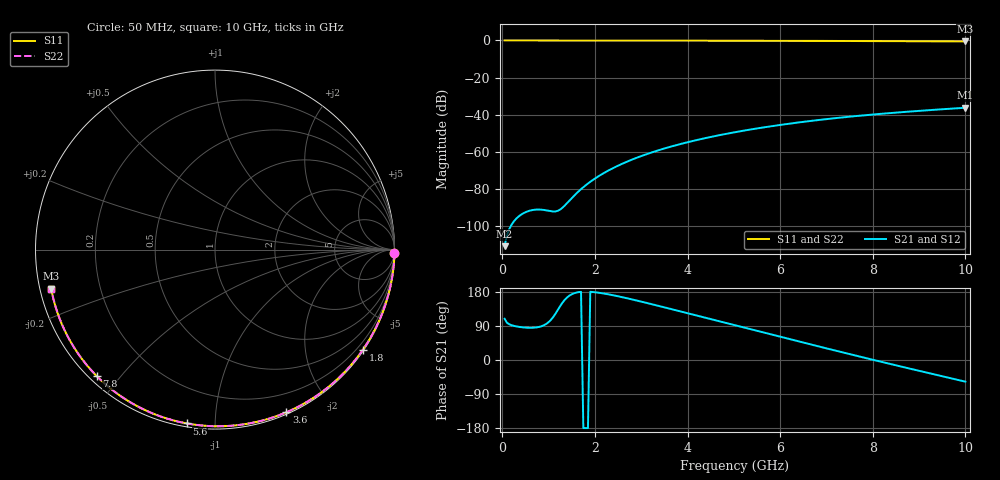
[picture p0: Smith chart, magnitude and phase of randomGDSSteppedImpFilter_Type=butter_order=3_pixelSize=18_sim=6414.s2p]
! freq	dB(S11)	phase(S11)	dB(S12)	phase(S12)
!  dB(S21)	phase(S21)	dB(S22)	phase(S22)
!S-par simulation data
#  GHz  S  DB  R 50
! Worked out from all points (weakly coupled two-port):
!   200 points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, 50 MHz to 10 GHz, reference 50 ohm
!   highest |S21| = -36.32 dB at 10 GHz (marker M1); lowest = -111.0 dB at 50 MHz (marker M2)
!   lowest |S11| = -0.6 dB at 10 GHz (marker M3), VSWR 31.33, Z = 1.62 - j5.88 ohm
!   |S11| at or under -10 dB: nowhere
!   |S22| runs from -0.6 to 0.0 dB; largest |S21 - S12| = 0
!   S11 on the Smith chart (normalised r, x): 50 MHz: open; 1.8 GHz: 0.03, -3.26; 3.6 GHz: 0.02, -1.53; 5.6 GHz: 0.02, -0.85; 7.8 GHz: 0.02, -0.43; 10 GHz: 0.03, -0.12
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0.05  -0.00 -1.0  -111.03 108.9  -111.03 108.9  -0.00 -1.0
0.45  -0.01 -8.7  -93.35 86.0  -93.35 86.0  -0.01 -8.7
0.85  -0.02 -16.3  -91.34 89.3  -91.34 89.3  -0.02 -16.3
1.7  -0.04 -32.3  -80.26 179.9  -80.26 179.9  -0.04 -32.3
1.75  -0.04 -33.2  -79.19 -179.7  -79.19 -179.7  -0.04 -33.2
1.8  -0.04 -34.1  -78.18 -179.6  -78.18 -179.6  -0.04 -34.1
1.95  -0.05 -36.9  -75.40 179.5  -75.40 179.5  -0.05 -36.9
2.1  -0.05 -39.6  -72.95 177.2  -72.95 177.2  -0.05 -39.6
2.3  -0.06 -43.3  -70.09 173.1  -70.09 173.1  -0.06 -43.3
2.5  -0.06 -46.9  -67.58 168.2  -67.58 168.2  -0.06 -46.9
2.9  -0.07 -54.1  -63.34 157.0  -63.34 157.0  -0.07 -54.1
3.4  -0.08 -62.8  -59.06 142.0  -59.06 142.0  -0.08 -62.8
3.6  -0.09 -66.3  -57.58 135.8  -57.58 135.8  -0.09 -66.3
4.3  -0.11 -78.2  -53.17 114.0  -53.17 114.0  -0.11 -78.2
5.05  -0.14 -90.5  -49.40 90.7  -49.40 90.7  -0.14 -90.5
5.6  -0.16 -99.3  -47.09 73.6  -47.09 73.6  -0.16 -99.3
6.15  -0.19 -107.9  -45.08 56.7  -45.08 56.7  -0.19 -107.9
6.7  -0.23 -116.3  -43.32 39.8  -43.32 39.8  -0.23 -116.3
7.8  -0.31 -133.0  -40.43 6.6  -40.43 6.6  -0.31 -133.0
8.35  -0.36 -141.3  -39.24 -9.7  -39.24 -9.7  -0.36 -141.3
9.2  -0.45 -154.2  -37.65 -34.3  -37.65 -34.3  -0.45 -154.2
10  -0.55 -166.6  -36.32 -57.2  -36.32 -57.2  -0.55 -166.6
